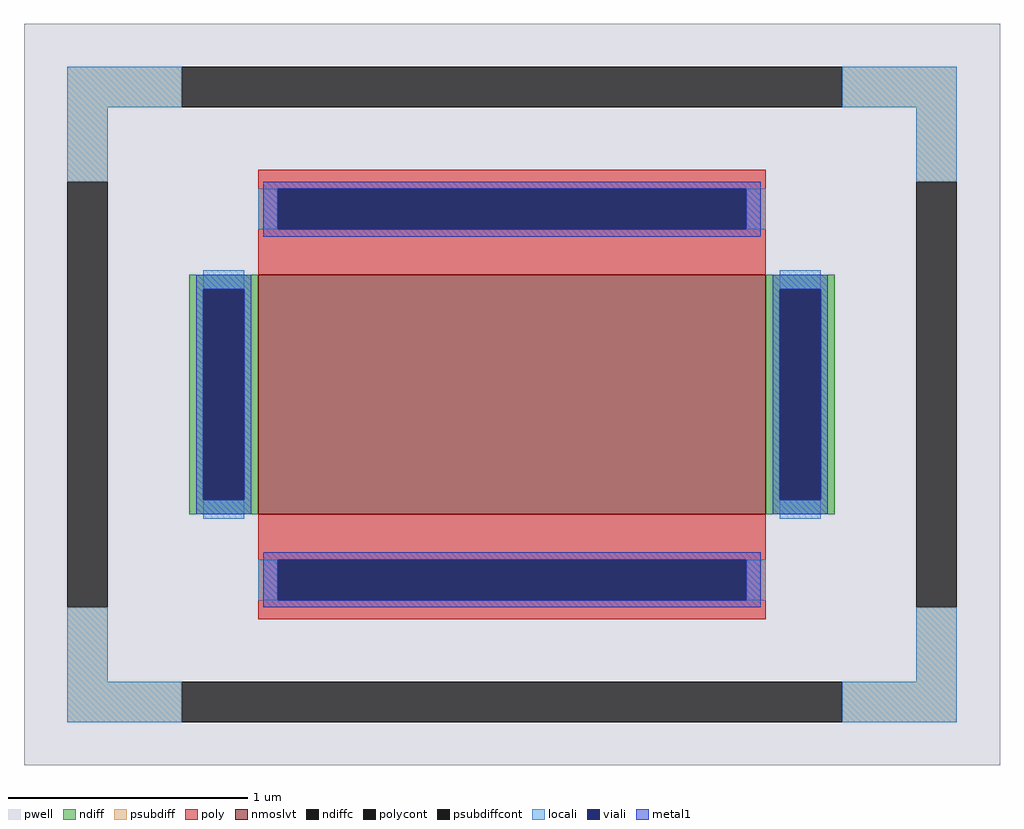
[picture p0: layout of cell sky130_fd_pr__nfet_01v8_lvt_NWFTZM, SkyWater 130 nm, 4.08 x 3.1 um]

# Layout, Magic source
magic
tech sky130A
<< pwell >>
rect -204 -155 204 155
<< nmoslvt >>
rect -106 -50 106 50
<< ndiff >>
rect -135 44 -106 50
rect -135 -44 -129 44
rect -112 -44 -106 44
rect -135 -50 -106 -44
rect 106 44 135 50
rect 106 -44 112 44
rect 129 -44 135 44
rect 106 -50 135 -44
<< ndiffc >>
rect -129 -44 -112 44
rect 112 -44 129 44
<< psubdiff >>
rect -186 120 -138 137
rect 138 120 186 137
rect -186 89 -169 120
rect 169 89 186 120
rect -186 -120 -169 -89
rect 169 -120 186 -89
rect -186 -137 -138 -120
rect 138 -137 186 -120
<< psubdiffcont >>
rect -138 120 138 137
rect -186 -89 -169 89
rect 169 -89 186 89
rect -138 -137 138 -120
<< poly >>
rect -106 86 106 94
rect -106 69 -98 86
rect 98 69 106 86
rect -106 50 106 69
rect -106 -69 106 -50
rect -106 -86 -98 -69
rect 98 -86 106 -69
rect -106 -94 106 -86
<< polycont >>
rect -98 69 98 86
rect -98 -86 98 -69
<< locali >>
rect -186 120 -138 137
rect 138 120 186 137
rect -186 89 -169 120
rect 169 89 186 120
rect -106 69 -98 86
rect 98 69 106 86
rect -129 44 -112 52
rect -129 -52 -112 -44
rect 112 44 129 52
rect 112 -52 129 -44
rect -106 -86 -98 -69
rect 98 -86 106 -69
rect -186 -120 -169 -89
rect 169 -120 186 -89
rect -186 -137 -138 -120
rect 138 -137 186 -120
<< viali >>
rect -98 69 98 86
rect -129 -44 -112 44
rect 112 -44 129 44
rect -98 -86 98 -69
<< metal1 >>
rect -104 86 104 89
rect -104 69 -98 86
rect 98 69 104 86
rect -104 66 104 69
rect -132 44 -109 50
rect -132 -44 -129 44
rect -112 -44 -109 44
rect -132 -50 -109 -44
rect 109 44 132 50
rect 109 -44 112 44
rect 129 -44 132 44
rect 109 -50 132 -44
rect -104 -69 104 -66
rect -104 -86 -98 -69
rect 98 -86 104 -69
rect -104 -89 104 -86
<< properties >>
string FIXED_BBOX -177 -128 177 128
string gencell sky130_fd_pr__nfet_01v8_lvt
string library sky130
string parameters w 1.0 l 2.12 m 1 nf 1 diffcov 100 polycov 100 guard 1 glc 1 grc 1 gtc 1 gbc 1 tbcov 100 rlcov 100 topc 1 botc 1 poverlap 0 doverlap 1 lmin 0.15 wmin 0.42 compatible {sky130_fd_pr__nfet_01v8 sky130_fd_pr__nfet_01v8_lvt  sky130_fd_bs_flash__special_sonosfet_star  sky130_fd_pr__nfet_g5v0d10v5 sky130_fd_pr__nfet_05v0_nvt  sky130_fd_pr__nfet_03v3_nvt} full_metal 1 viasrc 100 viadrn 100 viagate 100 viagb 0 viagr 0 viagl 0 viagt 0
<< end >>
